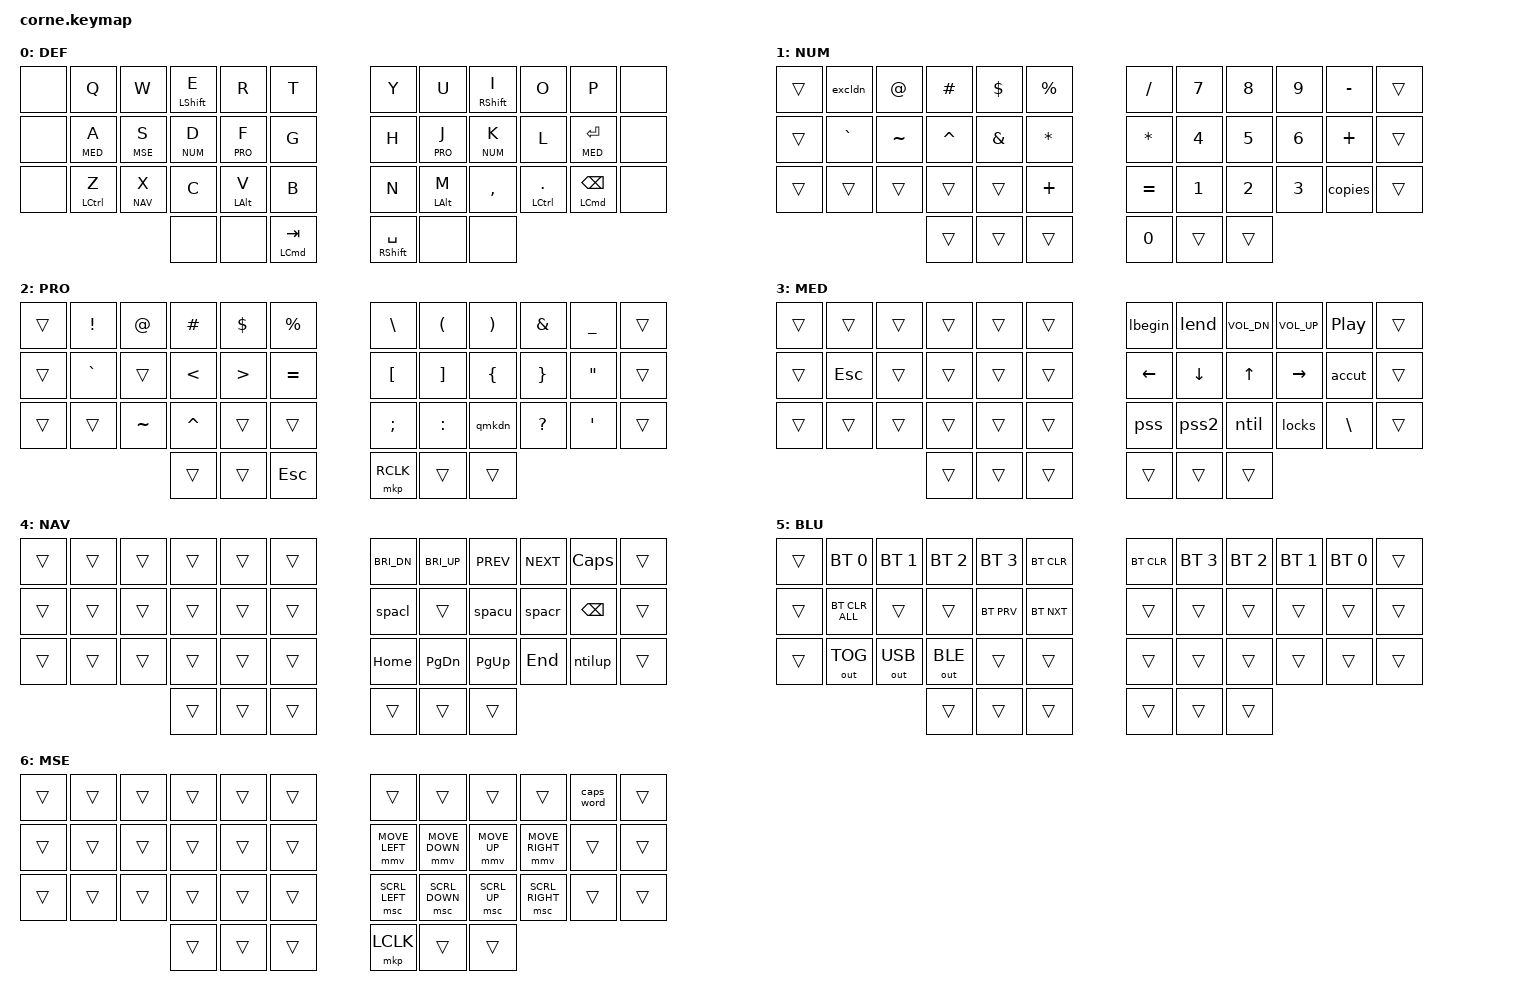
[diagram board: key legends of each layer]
/*
 * Copyright (c) 2020 The ZMK Contributors
 *
 * SPDX-License-Identifier: MIT
 */
 // https://github.com/duckyb/zmk-sweep?tab=readme-ov-file
 // https://github.com/duckyb/urchin

#include <behaviors.dtsi>
#include <dt-bindings/zmk/keys.h>
#include <dt-bindings/zmk/bt.h>
#include <dt-bindings/zmk/outputs.h>

#define ZMK_MOUSE_DEFAULT_MOVE_VAL 6000  // 600
#define ZMK_MOUSE_DEFAULT_SCRL_VAL 15    // 10

#include <dt-bindings/zmk/mouse.h>
#include <behaviors/mouse_keys.dtsi>
// #include <behaviors/mouse_move.dtsi>


&mmv {
    acceleration-exponent = <1>;      // 1
    time-to-max-speed-ms = <400>;     // 300
    delay-ms = <0>;                   // 0
};

&msc {
    acceleration-exponent = <1>;      // 0
    time-to-max-speed-ms = <0>;      // 300
    delay-ms = <0>;                   // 0
};

#define DEF     0
#define NUM     1
#define PRO     2
#define MED     3
#define NAV     4
#define BLU     5
#define MSE     6

#define BT0  &bt BT_SEL 0
#define BT1  &bt BT_SEL 1
#define BT2  &bt BT_SEL 2
#define BT3  &bt BT_SEL 3
#define BTN  &bt BT_NXT
#define BTP  &bt BT_PRV
#define BTC  &bt BT_CLR
#define BTCA  &bt BT_CLR_ALL
#define NO  &none
#define TR  &trans

#define CVOLU  &kp C_VOL_UP
#define CVOLD  &kp C_VOL_DN
#define CSNEX  &kp C_NEXT
#define CSPRE  &kp C_PREV

#define BOUT  &out OUT_TOG
#define BOUU  &out OUT_USB
#define BOUB  &out OUT_BLE

#define CBRID &kp C_BRI_DN
#define CBRIU &kp C_BRI_UP

&caps_word {
    continue-list = <UNDERSCORE MINUS BSPC SPACE>;
};

&lt {
    tapping-term-ms = <200>;
};
  
/ {
macros {
  #define OS_LEAD  &kp RALT &kp U  // OS specific sequence to initialize unicode
  #define OS_TRAIL &kp RET         // OS specific sequence to terminate unicode

  ntil: ntil { 
    compatible = "zmk,behavior-macro";
    #binding-cells = <0>;
    wait-ms = <0>;
    tap-ms = <0>;
    bindings
      = <&macro_press &kp LALT>
      , <&macro_tap &kp N0 &kp N0 &kp F &kp N1>
      , <&macro_release &kp LALT>
      ;    
  };

  ntilup: ntilup { 
    compatible = "zmk,behavior-macro";
    #binding-cells = <0>;
    wait-ms = <0>;
    tap-ms = <0>;
    bindings
      = <&macro_press &kp LALT>
      , <&macro_tap &kp N0 &kp N0 &kp D &kp N1>
      , <&macro_release &kp LALT>
      ;    
  };

  accut: accut { 
    compatible = "zmk,behavior-macro";
    #binding-cells = <0>;
    wait-ms = <0>;
    tap-ms = <0>;
    bindings
      = <&macro_press &kp LALT>
      , <&macro_tap &kp N0 &kp N3 &kp N0 &kp N1>
      , <&macro_release &kp LALT>
      ;    
  };

  excldn: excldn { 
    compatible = "zmk,behavior-macro";
    #binding-cells = <0>;
    wait-ms = <0>;
    tap-ms = <0>;
    bindings
      = <&macro_press &kp LALT>
      , <&macro_tap &kp N0 &kp N0 &kp A &kp N1>
      , <&macro_release &kp LALT>
      ;    
  };

  qmkdn: qmkdn {
    compatible = "zmk,behavior-macro";
    #binding-cells = <0>;
    wait-ms = <0>;
    tap-ms = <0>;
    bindings
      = <&macro_press &kp LALT>
      , <&macro_tap &kp N0 &kp N0 &kp B &kp F>
      , <&macro_release &kp LALT>
      ;    
  };

  pss: pss {
    compatible = "zmk,behavior-macro";
    #binding-cells = <0>;
    wait-ms = <15>;
    tap-ms = <10>;
    bindings 
        = <&kp I &kp P &kp S &kp U &kp M &kp E &kp S &kp S &kp E>
        ;
  };

  pss2: pss2 {
    compatible = "zmk,behavior-macro";
    #binding-cells = <0>;
    wait-ms = <15>;
    tap-ms = <10>;
    bindings 
        = <&kp LS(C) &kp A &kp M &kp P &kp N3 &kp S &kp T &kp R &kp N3 &kp N9 &kp DLLR &kp DLLR>
        ;
  };

  locks: locks {
    compatible = "zmk,behavior-macro";
    #binding-cells = <0>;
    wait-ms = <5>;
    tap-ms = <5>;
    bindings
        = <&macro_press &kp LCTRL &kp LGUI>
        , <&macro_tap &kp Q>
        , <&macro_release &kp LCTRL &kp LGUI>
        ;
  };

  spacl: spacl {
    compatible = "zmk,behavior-macro";
    #binding-cells = <0>;
    bindings
        = <&macro_press &kp LCTRL>
        , <&macro_tap &kp LEFT>
        , <&macro_release &kp LCTRL>
        ;
  };
  
  spacr: spacr {
    compatible = "zmk,behavior-macro";
    #binding-cells = <0>;
    bindings
        = <&macro_press &kp LCTRL>
        , <&macro_tap &kp RIGHT>
        , <&macro_release &kp LCTRL>
        ;
  };

  spacu: spacu {
    compatible = "zmk,behavior-macro";
    #binding-cells = <0>;
    bindings
        = <&macro_press &kp LCTRL>
        , <&macro_tap &kp UP>
        , <&macro_release &kp LCTRL>
        ;
  };

  lbegin: lbegin {
    compatible = "zmk,behavior-macro";
    #binding-cells = <0>;
    bindings
        = <&macro_press &kp LCTRL>
        , <&macro_tap &kp A>
        , <&macro_release &kp LCTRL>
        ;
  };

  lend: lend {
    compatible = "zmk,behavior-macro";
    #binding-cells = <0>;
    bindings
        = <&macro_press &kp LCTRL>
        , <&macro_tap &kp E>
        , <&macro_release &kp LCTRL>
        ;
  };

  copies: copies {
    compatible = "zmk,behavior-macro";
    #binding-cells = <0>;
    wait-ms = <5>;
    tap-ms = <5>;
    bindings
        = <&macro_press &kp LGUI &kp LSHFT>
        , <&macro_tap &kp N4>
        , <&macro_release &kp LGUI &kp LSHFT>
        ;
  };
};
};

/ {
  behaviors {    
    tp: tapping_preferred {
      compatible = "zmk,behavior-hold-tap";
      #binding-cells = <2>;
      flavor = "tap-preferred";
      tapping-term-ms = <200>;
      bindings = <&kp>, <&kp>;
    };
  };
  conditional_layers {
    compatible = "zmk,conditional-layers";
    blu_layer {
        if-layers = <PRO MED>;
        then-layer = <BLU>;
    };
  };

  keymap {
    compatible = "zmk,keymap";

    // -----------------------------------------------------------------------------------------
    default_layer {
      display-name = "DEF";
      bindings = < 
      NO  &kp Q        &kp W      &tp LSHFT E  &kp R       &kp T        &kp Y  &kp U       &tp RSHFT I  &kp O          &kp P          NO       
      NO  &lt MED A    &lt MSE S  &lt NUM D    &lt PRO F   &kp G        &kp H  &lt PRO J   &lt NUM K    &kp L          &lt MED ENTER  NO 
      NO  &tp LCTRL Z  &lt NAV X  &kp C        &tp LALT V  &kp B        &kp N  &tp LALT M  &kp COMMA    &tp LCTRL DOT  &tp LCMD BSPC  NO 
      NO  NO           &tp LCMD TAB                                     &tp RSHFT SPACE    NO  NO  
      >;
    };

    // -----------------------------------------------------------------------------------------
    num_layer {
      display-name = "NUM";
      bindings = <
       TR  &excldn    &kp AT     &kp HASH   &kp DLLR   &kp PRCNT    &kp FSLH  &kp N7  &kp N8  &kp N9  &kp MINUS  TR
       TR  &kp GRAVE  &kp TILDE  &kp CARET  &kp AMPS   &kp STAR     &kp STAR   &kp N4  &kp N5  &kp N6  &kp PLUS  TR
       TR  TR         TR         TR         TR         &kp PLUS     &kp EQUAL  &kp N1  &kp N2  &kp N3  &copies  TR
       TR  TR         TR                                            &kp N0     TR  TR   
      >;
    };

    // -----------------------------------------------------------------------------------------
    prog_layer {
      display-name = "PRO";
      bindings = <
       TR  &kp EXCL   &kp AT     &kp HASH   &kp DLLR   &kp PRCNT      &kp BSLH  &kp LPAR   &kp RPAR   &kp AMPS   &kp UNDER  TR
       TR  &kp GRAVE  TR         &kp LT     &kp GT     &kp EQUAL      &kp LBKT  &kp RBKT   &kp LBRC   &kp RBRC   &kp DQT  TR
       TR  TR         &kp TILDE  &kp CARET  TR         TR             &kp SEMI  &kp COLON  &qmkdn     &kp QMARK  &kp SQT  TR
       TR  TR         &kp ESC                                     &mkp RCLK  TR  TR
      >;
    };

    // -----------------------------------------------------------------------------------------
    med_layer {
      display-name = "MED";
      bindings = <
        TR  TR       TR  TR  TR  TR      &lbegin    &lend      CVOLD    CVOLU      &kp C_PP  TR 
        TR  &kp ESC  TR  TR  TR  TR      &kp LEFT   &kp DOWN   &kp UP   &kp RIGHT  &accut  TR
        TR  TR       TR  TR  TR  TR      &pss       &pss2      &ntil  &locks     &kp BSLH  TR
        TR  TR       TR                  TR         TR  TR
      >;
    };

    // -----------------------------------------------------------------------------------------
    nav_layer {
      display-name = "NAV";
      bindings = < 
        TR  TR  TR  TR  TR  TR           CBRID      CBRIU      CSPRE      CSNEX    &kp CAPS  TR
        TR  TR  TR  TR  TR  TR           &spacl     TR         &spacu     &spacr   &kp BSPC  TR
        TR  TR  TR  TR  TR  TR           &kp HOME   &kp PG_DN  &kp PG_UP  &kp END  &ntilup  TR
        TR  TR  TR                       TR         TR  TR 
      >;
    };

    // -----------------------------------------------------------------------------------------
    blu_layer {
      display-name = "BLU";
      bindings = <
        TR  BT0   BT1   BT2   BT3  BTC      BTC  BT3  BT2  BT1  BT0  TR
        TR  BTCA  TR    TR    BTP  BTN      TR   TR   TR   TR   TR  TR
        TR  BOUT  BOUU  BOUB  TR   TR       TR   TR   TR   TR   TR  TR
        TR  TR  TR                          TR   TR  TR 
      >;
    };

    // -----------------------------------------------------------------------------------------
    mse_layer {
      display-name = "MSE";
      bindings = < 
        TR  TR  TR  TR  TR  TR      TR              TR              TR            TR              &caps_word  TR
        TR  TR  TR  TR  TR  TR      &mmv MOVE_LEFT  &mmv MOVE_DOWN  &mmv MOVE_UP  &mmv MOVE_RIGHT TR  TR
        TR  TR  TR  TR  TR  TR      &msc SCRL_LEFT  &msc SCRL_DOWN  &msc SCRL_UP  &msc SCRL_RIGHT TR  TR
        TR  TR  TR                  &mkp LCLK       TR  TR 
      >;
    };

  };
};
             
